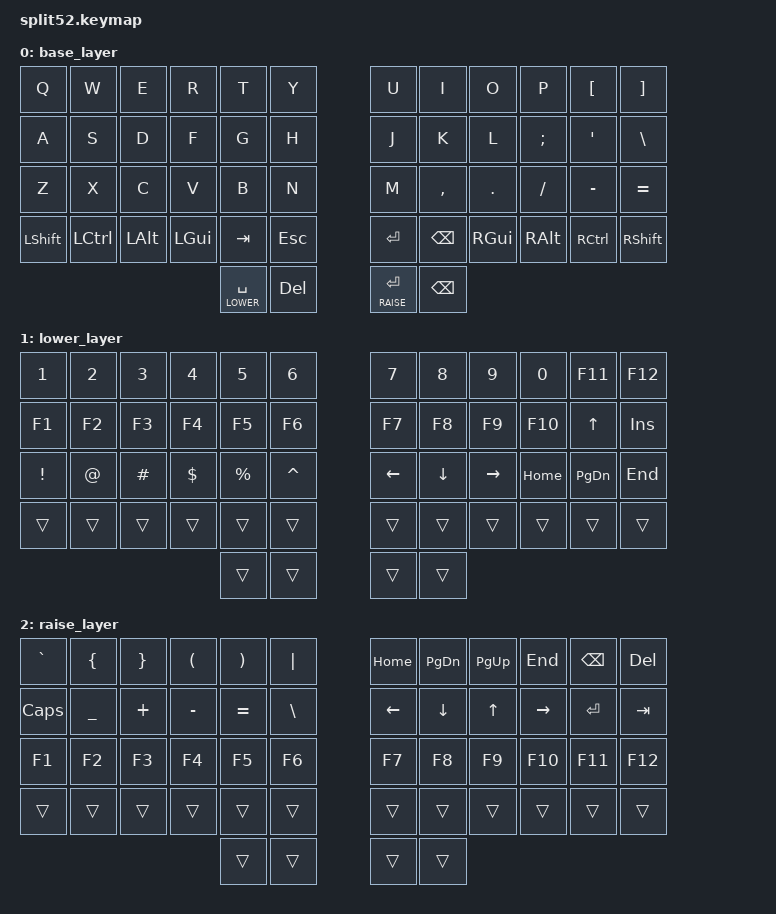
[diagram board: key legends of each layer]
#include <behaviors.dtsi>
#include <dt-bindings/zmk/keys.h>

#define BASE 0
#define LOWER 1
#define RAISE 2

/ {
  keymap {
    compatible = "zmk,keymap";

    base_layer {
      bindings = <
        /* row 0 */ &kp Q   &kp W   &kp E   &kp R   &kp T   &kp Y     &kp U   &kp I     &kp O     &kp P     &kp LBKT &kp RBKT
        /* row 1 */ &kp A   &kp S   &kp D   &kp F   &kp G   &kp H     &kp J   &kp K     &kp L     &kp SEMI  &kp SQT  &kp BSLH
        /* row 2 */ &kp Z   &kp X   &kp C   &kp V   &kp B   &kp N     &kp M   &kp COMMA &kp DOT   &kp SLASH &kp MINUS &kp EQUAL
        /* row 3 */ &kp LSHFT &kp LCTRL &kp LALT &kp LGUI &kp TAB &kp ESC    &kp ENTER &kp BSPC  &kp RGUI  &kp RALT  &kp RCTRL &kp RSHFT
        /* thumbs */           &lt LOWER SPACE  &kp DEL                 &lt RAISE ENTER  &kp BSPC
      >;
    };

    lower_layer {
      bindings = <
        /* row 0 */ &kp N1 &kp N2 &kp N3 &kp N4 &kp N5 &kp N6     &kp N7 &kp N8 &kp N9 &kp N0 &kp F11 &kp F12
        /* row 1 */ &kp F1 &kp F2 &kp F3 &kp F4 &kp F5 &kp F6     &kp F7 &kp F8 &kp F9 &kp F10 &kp UP &kp INS
        /* row 2 */ &kp EXCL &kp AT &kp HASH &kp DLLR &kp PRCNT &kp CARET  &kp LEFT &kp DOWN &kp RIGHT &kp HOME &kp PG_DN &kp END
        /* row 3 */ &trans &trans &trans &trans &trans &trans      &trans &trans &trans &trans &trans &trans
        /* thumbs */               &trans &trans                   &trans &trans
      >;
    };

    raise_layer {
      bindings = <
        /* row 0 */ &kp GRAVE &kp LBRC &kp RBRC &kp LPAR &kp RPAR &kp PIPE  &kp HOME &kp PG_DN &kp PG_UP &kp END &kp BSPC &kp DEL
        /* row 1 */ &kp CAPS  &kp UNDER &kp PLUS &kp MINUS &kp EQUAL &kp BSLH &kp LEFT &kp DOWN &kp UP &kp RIGHT &kp ENTER &kp TAB
        /* row 2 */ &kp F1 &kp F2 &kp F3 &kp F4 &kp F5 &kp F6      &kp F7 &kp F8 &kp F9 &kp F10 &kp F11 &kp F12
        /* row 3 */ &trans &trans &trans &trans &trans &trans      &trans &trans &trans &trans &trans &trans
        /* thumbs */               &trans &trans                   &trans &trans
      >;
    };
  };
};
